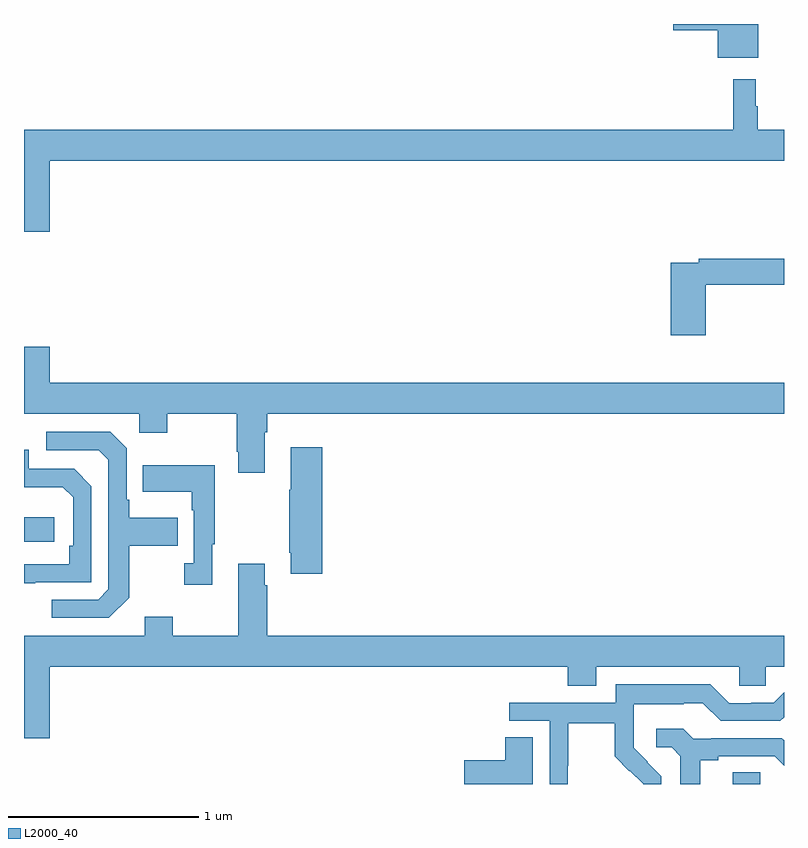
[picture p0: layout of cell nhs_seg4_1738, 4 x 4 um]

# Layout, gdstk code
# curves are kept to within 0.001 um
import gdstk
lib = gdstk.Library(unit=1e-6, precision=1e-09)
def R(c, l, rs):  # rectangles x0, y0, x1, y1
    for r in rs: c.add(gdstk.rectangle(r[:2], r[2:], *l))
def P(c, l, *ps):  # polygons
    for p in ps: c.add(gdstk.Polygon(p, *l))
L2000_40 = (2000, 40)

nhs_seg4_1738 = lib.new_cell('nhs_seg4_1738')
R(nhs_seg4_1738, L2000_40, [(204.731,766.9,204.876,766.961), (201,768.174,201.16,768.304)])
P(nhs_seg4_1738, L2000_40, [(204.865,770.9),(204.416,770.9),(204.416,770.867),(204.65,770.867),(204.65,770.723),(204.865,770.723)],
  [(201.136,770.18),(205,770.18),(205,770.344),(204.862,770.344),(204.862,770.468),(204.85,770.468),(204.85,770.608),(204.733,770.608),(204.733,770.344),(201,770.344),(201,769.806),(201.136,769.806)],
  [(204.587,769.528),(205,769.528),(205,769.664),(204.55,769.664),(204.55,769.644),(204.404,769.644),(204.404,769.263),(204.587,769.263)],
  [(202.267,768.752),(202.28,768.752),(202.28,768.848),(205,768.848),(205,769.012),(201.136,769.012),(201.136,769.201),(201,769.201),(201,768.848),(201.606,768.848),(201.606,768.749),(201.753,768.749),(201.753,768.848),(202.12,768.848),(202.12,768.649),(202.127,768.649),(202.127,768.537),(202.267,768.537)],
  [(201.553,767.881),(201.553,768.154),(201.809,768.154),(201.809,768.301),(201.553,768.301),(201.553,768.397),(201.54,768.397),(201.54,768.666),(201.453,768.753),(201.117,768.753),(201.117,768.657),(201.393,768.657),(201.444,768.606),(201.444,767.925),(201.39,767.871),(201.147,767.871),(201.147,767.775),(201.447,767.775)],
  [(202.571,768.673),(202.403,768.673),(202.403,768.449),(202.396,768.449),(202.396,768.118),(202.403,768.118),(202.403,768.006),(202.571,768.006)],
  [(201.059,767.961),(201.354,767.961),(201.354,768.468),(201.264,768.558),(201.024,768.558),(201.024,768.66),(201,768.66),(201,768.461),(201.205,768.461),(201.258,768.408),(201.258,768.154),(201.238,768.154),(201.238,768.057),(201,768.057),(201,767.956),(201.059,767.956)],
  [(201.991,768.161),(202.003,768.161),(202.003,768.577),(201.625,768.577),(201.625,768.437),(201.882,768.437),(201.882,768.341),(201.894,768.341),(201.894,768.062),(201.843,768.062),(201.843,767.949),(201.991,767.949)],
  [(202.28,767.945),(202.267,767.945),(202.267,768.058),(202.127,768.058),(202.127,767.68),(201.783,767.68),(201.783,767.779),(201.635,767.779),(201.635,767.68),(201,767.68),(201,767.142),(201.136,767.142),(201.136,767.516),(203.861,767.516),(203.861,767.417),(204.013,767.417),(204.013,767.516),(204.765,767.516),(204.765,767.418),(204.903,767.418),(204.903,767.516),(205,767.516),(205,767.68),(202.28,767.68)],
  [(203.862,766.996),(203.865,766.996),(203.865,767.22),(204.109,767.22),(204.109,767.045),(204.186,766.968),(204.189,766.971),(204.26,766.9),(204.354,766.9),(204.354,766.942),(204.208,767.09),(204.208,767.187),(204.21,767.187),(204.21,767.321),(204.473,767.321),(204.473,767.325),(204.573,767.325),(204.666,767.232),(204.981,767.232),(205,767.251),(205,767.383),(204.945,767.328),(204.827,767.328),(204.827,767.325),(204.711,767.325),(204.611,767.425),(204.114,767.425),(204.114,767.328),(203.553,767.328),(203.553,767.232),(203.766,767.232),(203.766,766.9),(203.862,766.9)],
  [(204.559,767.024),(204.655,767.024),(204.655,767.046),(204.95,767.046),(205,766.996),(205,767.13),(204.988,767.142),(204.616,767.142),(204.616,767.139),(204.522,767.139),(204.47,767.191),(204.327,767.191),(204.327,767.094),(204.408,767.094),(204.455,767.047),(204.455,766.9),(204.559,766.9)],
  [(203.677,767.147),(203.534,767.147),(203.534,767.024),(203.316,767.024),(203.316,766.9),(203.677,766.9)])

lib.write_gds('nhs_seg4_1738.gds')
